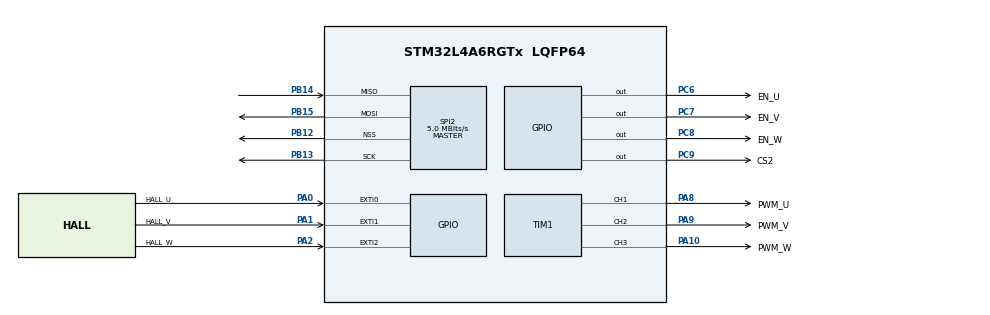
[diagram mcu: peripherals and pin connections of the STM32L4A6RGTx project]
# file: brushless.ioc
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Mcu.Family=STM32L4
Mcu.Name=STM32L4A6RGTx
Mcu.Package=LQFP64
Mcu.UserConstants=PWM_FREQUENCY,1000
NVIC.EXTI0_IRQn=true\:0\:0\:false\:false\:true\:true\:true
NVIC.EXTI1_IRQn=true\:0\:0\:false\:false\:true\:true\:true
NVIC.EXTI2_IRQn=true\:0\:0\:false\:false\:true\:true\:true
NVIC.PriorityGroup=NVIC_PRIORITYGROUP_4
NVIC.SPI2_IRQn=true\:0\:0\:false\:false\:true\:true\:true
PA0.GPIO_Label=HALL_U
PA0.GPIO_ModeDefaultEXTI=GPIO_MODE_IT_RISING_FALLING
PA0.Signal=GPXTI0
PA1.GPIO_Label=HALL_V
PA1.GPIO_ModeDefaultEXTI=GPIO_MODE_IT_RISING_FALLING
PA1.Signal=GPXTI1
PA10.GPIO_Label=PWM_W
PA10.Signal=S_TIM1_CH3
PA2.GPIO_Label=HALL_W
PA2.GPIO_ModeDefaultEXTI=GPIO_MODE_IT_RISING_FALLING
PA2.Signal=GPXTI2
PA8.GPIO_Label=PWM_U
PA8.Signal=S_TIM1_CH1
PA9.GPIO_Label=PWM_V
PA9.Signal=S_TIM1_CH2
PB12.Mode=NSS_Signal_Hard_Output
PB12.Signal=SPI2_NSS
PB13.Mode=Full_Duplex_Master
PB13.Signal=SPI2_SCK
PB14.Mode=Full_Duplex_Master
PB14.Signal=SPI2_MISO
PB15.Mode=Full_Duplex_Master
PB15.Signal=SPI2_MOSI
PC0.Signal=ADCx_IN1
PC1.Signal=ADCx_IN2
PC2.Signal=ADCx_IN3
PC3.Signal=ADCx_IN4
PC6.GPIO_Label=EN_U
PC6.Signal=GPIO_Output
PC7.GPIO_Label=EN_V
PC7.Signal=GPIO_Output
PC8.GPIO_Label=EN_W
PC8.Signal=GPIO_Output
PC9.GPIO_Label=CS2
PC9.Signal=GPIO_Output
ProjectManager.HeapSize=0x200
ProjectManager.StackSize=0x400
ProjectManager.TargetToolchain=STM32CubeIDE
RCC.AHBFreq_Value=80000000
RCC.APB1Freq_Value=80000000
RCC.APB1TimFreq_Value=80000000
RCC.APB2Freq_Value=80000000
RCC.APB2TimFreq_Value=80000000
RCC.CortexFreq_Value=80000000
RCC.HCLKFreq_Value=80000000
RCC.HSE_VALUE=8000000
RCC.HSI48_VALUE=48000000
RCC.HSI_VALUE=16000000
RCC.LSE_VALUE=32768
RCC.MSI_VALUE=4000000
RCC.PLLN=40
RCC.SYSCLKFreq_VALUE=80000000
RCC.SYSCLKSource=RCC_SYSCLKSOURCE_PLLCLK
RCC.VCOOutputFreq_Value=160000000
SH.ADCx_IN1.0=ADC1_IN1
SH.ADCx_IN2.0=ADC1_IN2
SH.ADCx_IN3.0=ADC1_IN3
SH.ADCx_IN4.0=ADC1_IN4
SH.S_TIM1_CH1.0=TIM1_CH1,PWM Generation1 CH1
SH.S_TIM1_CH2.0=TIM1_CH2,PWM Generation2 CH2
SH.S_TIM1_CH3.0=TIM1_CH3,PWM Generation3 CH3
SPI2.BaudRatePrescaler=SPI_BAUDRATEPRESCALER_16
SPI2.CRCCalculation=SPI_CRCCALCULATION_DISABLE
SPI2.CalculateBaudRate=5.0 MBits/s
SPI2.DataSize=SPI_DATASIZE_16BIT
SPI2.Direction=SPI_DIRECTION_2LINES
SPI2.Mode=SPI_MODE_MASTER
SPI2.VirtualNSS=VM_NSSHARD
SPI2.VirtualType=VM_MASTER
TIM1.Channel-PWM\ Generation1\ CH1=TIM_CHANNEL_1
TIM1.Channel-PWM\ Generation2\ CH2=TIM_CHANNEL_2
TIM1.Channel-PWM\ Generation3\ CH3=TIM_CHANNEL_3
TIM1.Period=PWM_FREQUENCY
VP_TIM1_VS_ClockSourceINT.Mode=Internal
board=custom

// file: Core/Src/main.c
/* USER CODE BEGIN Header */
/**
  ******************************************************************************
  * @file           : main.c
  * @brief          : Main program body
  ******************************************************************************
  * @attention
  *
  * <h2><center>&copy; Copyright (c) 2022 STMicroelectronics.
  * All rights reserved.</center></h2>
  *
  * This software component is licensed by ST under BSD 3-Clause license,
  * the "License"; You may not use this file except in compliance with the
  * License. You may obtain a copy of the License at:
  *                        opensource.org/licenses/BSD-3-Clause
  *
  ******************************************************************************
  */
/* USER CODE END Header */
#include "main.h"
#include "spi.h"
#include "tim.h"
#include "gpio.h"

/* USER CODE BEGIN Includes */
#include "motor_control.h"
/* USER CODE END Includes */

void SystemClock_Config(void);

/* USER CODE BEGIN 0 */

volatile int pwm = 0;

volatile uint16_t send = 0xFFFF;
/* USER CODE END 0 */

int main(void)
{

  /* MCU Configuration--------------------------------------------------------*/

  /* Reset of all peripherals, Initializes the Flash interface and the Systick. */

  LL_APB2_GRP1_EnableClock(LL_APB2_GRP1_PERIPH_SYSCFG);
  LL_APB1_GRP1_EnableClock(LL_APB1_GRP1_PERIPH_PWR);

  NVIC_SetPriorityGrouping(NVIC_PRIORITYGROUP_4);

  /* System interrupt init*/
  /* SysTick_IRQn interrupt configuration */
  NVIC_SetPriority(SysTick_IRQn, NVIC_EncodePriority(NVIC_GetPriorityGrouping(),15, 0));

  /* Configure the system clock */
  SystemClock_Config();

  /* Initialize all configured peripherals */
  MX_GPIO_Init();
  MX_TIM1_Init();
  MX_SPI2_Init();
  /* USER CODE BEGIN 2 */

  //PWM timer init
  LL_TIM_EnableCounter(TIM1);
  LL_TIM_CC_EnableChannel(TIM1, LL_TIM_CHANNEL_CH1);
  LL_TIM_CC_EnableChannel(TIM1, LL_TIM_CHANNEL_CH2);
  LL_TIM_CC_EnableChannel(TIM1, LL_TIM_CHANNEL_CH3);

  LL_TIM_OC_SetCompareCH1(TIM1, 0);
  LL_TIM_OC_SetCompareCH2(TIM1, 0);
  LL_TIM_OC_SetCompareCH3(TIM1, 0);
  //force preaload register sync
  LL_TIM_GenerateEvent_UPDATE(TIM1);

  //Outputs on
  LL_TIM_EnableAllOutputs(TIM1);

  LL_SYSTICK_EnableIT();

  NVIC_EnableIRQ(EXTI0_IRQn);
  NVIC_EnableIRQ(EXTI1_IRQn);
  NVIC_EnableIRQ(EXTI2_IRQn);

 // LL_GPIO_SetOutputPin(EN_U_GPIO_Port,EN_U_Pin);
 // LL_GPIO_SetOutputPin(EN_V_GPIO_Port,EN_V_Pin);
 // LL_GPIO_SetOutputPin(EN_W_GPIO_Port,EN_W_Pin);

  LL_SPI_Enable(SPI2);
 // LL_SPI_EnableIT_RXNE(SPI2);
  /* USER CODE END 2 */

  /* Infinite loop */
  /* USER CODE BEGIN WHILE */
  motor_control_pwm_update_callback(0);
  motor_control_reset_rotation();
  const int speed[7] = {-70, -80, -70, 0, 70, 100, 0};

  LL_SPI_DisableIT_TXE(SPI2);
  LL_SPI_EnableIT_RXNE(SPI2);

  int new_pos = 0;
  int old_pos = 0;
  while (1){

	  //motor_control_pwm_update_callback(pwm);
	  for (volatile int i = 0; i < 100000; i++);

	  for (volatile int i = 0; i < 1000; i++);

	  /*
	  LL_SPI_TransmitData16(SPI2,send);
	  for (volatile int i = 0; i < 100; i++);
	  LL_SPI_TransmitData16(SPI2,0x0000);
*/
  }

    /* USER CODE END WHILE */

}

void SystemClock_Config(void)
{
  LL_FLASH_SetLatency(LL_FLASH_LATENCY_4);
  while(LL_FLASH_GetLatency()!= LL_FLASH_LATENCY_4)
  {
  }
  LL_PWR_SetRegulVoltageScaling(LL_PWR_REGU_VOLTAGE_SCALE1);
  LL_RCC_MSI_Enable();

   /* Wait till MSI is ready */
  while(LL_RCC_MSI_IsReady() != 1)
  {

  }
  LL_RCC_MSI_EnableRangeSelection();
  LL_RCC_MSI_SetRange(LL_RCC_MSIRANGE_6);
  LL_RCC_MSI_SetCalibTrimming(0);
  LL_RCC_PLL_ConfigDomain_SYS(LL_RCC_PLLSOURCE_MSI, LL_RCC_PLLM_DIV_1, 40, LL_RCC_PLLR_DIV_2);
  LL_RCC_PLL_EnableDomain_SYS();
  LL_RCC_PLL_Enable();

   /* Wait till PLL is ready */
  while(LL_RCC_PLL_IsReady() != 1)
  {

  }
  LL_RCC_SetSysClkSource(LL_RCC_SYS_CLKSOURCE_PLL);

   /* Wait till System clock is ready */
  while(LL_RCC_GetSysClkSource() != LL_RCC_SYS_CLKSOURCE_STATUS_PLL)
  {

  }
  LL_RCC_SetAHBPrescaler(LL_RCC_SYSCLK_DIV_1);
  LL_RCC_SetAPB1Prescaler(LL_RCC_APB1_DIV_1);
  LL_RCC_SetAPB2Prescaler(LL_RCC_APB2_DIV_1);

  LL_Init1msTick(80000000);
  LL_SetSystemCoreClock(80000000);
}

void Error_Handler(void)
{
  __disable_irq();
  while (1)
  {
  }
}

/************************ (C) COPYRIGHT STMicroelectronics *****END OF FILE****/
